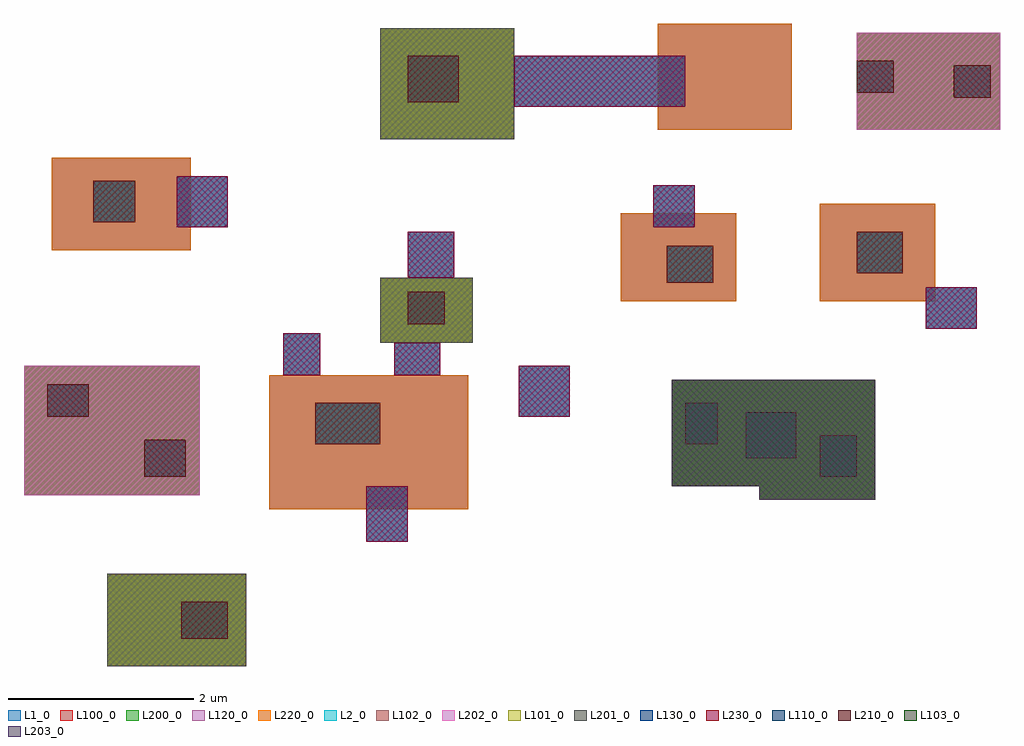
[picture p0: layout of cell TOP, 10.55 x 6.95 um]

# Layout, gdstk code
import gdstk
lib = gdstk.Library(unit=1e-6, precision=1e-09)
def R(c, l, rs):  # rectangles x0, y0, x1, y1
    for r in rs: c.add(gdstk.rectangle(r[:2], r[2:], *l))
def P(c, l, *ps):  # polygons
    for p in ps: c.add(gdstk.Polygon(p, *l))
L1_0 = (1, 0)
L2_0 = (2, 0)
L100_0 = (100, 0)
L101_0 = (101, 0)
L102_0 = (102, 0)
L103_0 = (103, 0)
L110_0 = (110, 0)
L120_0 = (120, 0)
L130_0 = (130, 0)
L200_0 = (200, 0)
L201_0 = (201, 0)
L202_0 = (202, 0)
L203_0 = (203, 0)
L210_0 = (210, 0)
L220_0 = (220, 0)
L230_0 = (230, 0)

top = lib.new_cell('TOP')
R(top, L1_0, [(0,0,1.5,1), (1.75,1.7,3.9,3.15), (7.05,1.8,8.3,3.1), (-0.9,1.85,1,3.25), (6.1,1.95,7.3,3.1), (2.95,3.5,3.95,4.2), (5.55,3.95,6.8,4.9), (7.7,3.95,8.95,5), (-0.6,4.5,0.9,5.5), (2.95,5.7,4.4,6.9), (5.95,5.8,7.4,6.95), (8.1,5.8,9.65,6.85)])
R(top, L2_0, [(0.8,0.3,1.3,0.7), (2.8,1.35,3.25,1.95), (0.4,2.05,0.85,2.45), (7.7,2.05,8.1,2.5), (6.9,2.25,7.45,2.75), (2.25,2.4,2.95,2.85), (6.25,2.4,6.6,2.85), (-0.65,2.7,-0.2,3.05), (4.45,2.7,5,3.25), (1.9,3.15,2.3,3.6), (3.1,3.15,3.6,3.5), (8.85,3.65,9.4,4.1), (3.25,3.7,3.65,4.05), (6.05,4.15,6.55,4.55), (3.25,4.2,3.75,4.7), (8.1,4.25,8.6,4.7), (0.75,4.75,1.3,5.3), (5.9,4.75,6.35,5.2), (-0.15,4.8,0.3,5.25), (4.4,6.05,6.25,6.6), (3.25,6.1,3.8,6.6), (9.15,6.15,9.55,6.5), (8.1,6.2,8.5,6.55)])
R(top, L100_0, [(0,0,1.5,1), (-0.9,1.85,1,3.25), (2.95,3.5,3.95,4.2), (2.95,5.7,4.4,6.9), (8.1,5.8,9.65,6.85)])
P(top, L100_0, [(7.05,1.8),(7.05,1.95),(6.1,1.95),(6.1,3.1),(8.3,3.1),(8.3,1.8)])
R(top, L101_0, [(0,0,1.5,1), (2.95,3.5,3.95,4.2), (2.95,5.7,4.4,6.9)])
R(top, L102_0, [(-0.9,1.85,1,3.25), (8.1,5.8,9.65,6.85)])
P(top, L103_0, [(7.05,1.8),(7.05,1.95),(6.1,1.95),(6.1,3.1),(8.3,3.1),(8.3,1.8)])
R(top, L110_0, [(0.8,0.3,1.3,0.7), (0.4,2.05,0.85,2.45), (7.7,2.05,8.1,2.5), (6.9,2.25,7.45,2.75), (2.25,2.4,2.95,2.85), (6.25,2.4,6.6,2.85), (-0.65,2.7,-0.2,3.05), (3.25,3.7,3.65,4.05), (6.05,4.15,6.55,4.55), (8.1,4.25,8.6,4.7), (-0.15,4.8,0.3,5.25), (3.25,6.1,3.8,6.6), (9.15,6.15,9.55,6.5), (8.1,6.2,8.5,6.55)])
R(top, L120_0, [(1.75,1.7,3.9,3.15), (5.55,3.95,6.8,4.9), (7.7,3.95,8.95,5), (-0.6,4.5,0.9,5.5), (5.95,5.8,7.4,6.95)])
R(top, L130_0, [(2.8,1.35,3.25,1.95), (4.45,2.7,5,3.25), (1.9,3.15,2.3,3.6), (3.1,3.15,3.6,3.5), (8.85,3.65,9.4,4.1), (3.25,4.2,3.75,4.7), (0.75,4.75,1.3,5.3), (5.9,4.75,6.35,5.2), (4.4,6.05,6.25,6.6)])
R(top, L200_0, [(0,0,1.5,1), (-0.9,1.85,1,3.25), (2.95,3.5,3.95,4.2), (2.95,5.7,4.4,6.9), (8.1,5.8,9.65,6.85)])
P(top, L200_0, [(7.05,1.8),(7.05,1.95),(6.1,1.95),(6.1,3.1),(8.3,3.1),(8.3,1.8)])
R(top, L201_0, [(0,0,1.5,1), (2.95,3.5,3.95,4.2), (2.95,5.7,4.4,6.9)])
R(top, L202_0, [(-0.9,1.85,1,3.25), (8.1,5.8,9.65,6.85)])
P(top, L203_0, [(7.05,1.8),(7.05,1.95),(6.1,1.95),(6.1,3.1),(8.3,3.1),(8.3,1.8)])
R(top, L210_0, [(0.8,0.3,1.3,0.7), (0.4,2.05,0.85,2.45), (7.7,2.05,8.1,2.5), (6.9,2.25,7.45,2.75), (2.25,2.4,2.95,2.85), (6.25,2.4,6.6,2.85), (-0.65,2.7,-0.2,3.05), (3.25,3.7,3.65,4.05), (6.05,4.15,6.55,4.55), (8.1,4.25,8.6,4.7), (-0.15,4.8,0.3,5.25), (3.25,6.1,3.8,6.6), (9.15,6.15,9.55,6.5), (8.1,6.2,8.5,6.55)])
R(top, L220_0, [(1.75,1.7,3.9,3.15), (5.55,3.95,6.8,4.9), (7.7,3.95,8.95,5), (-0.6,4.5,0.9,5.5), (5.95,5.8,7.4,6.95)])
R(top, L230_0, [(2.8,1.35,3.25,1.95), (4.45,2.7,5,3.25), (1.9,3.15,2.3,3.6), (3.1,3.15,3.6,3.5), (8.85,3.65,9.4,4.1), (3.25,4.2,3.75,4.7), (0.75,4.75,1.3,5.3), (5.9,4.75,6.35,5.2), (4.4,6.05,6.25,6.6)])

lib.write_gds('TOP.gds')
